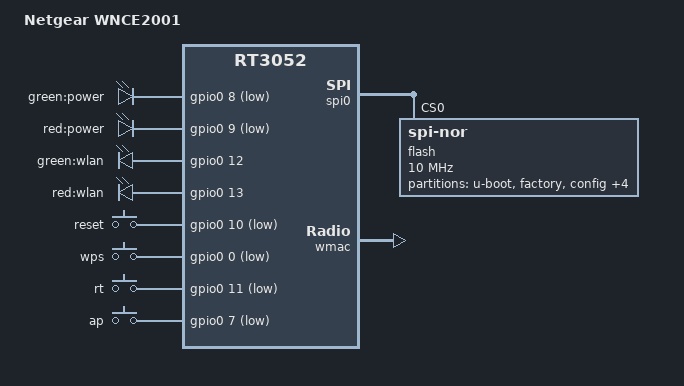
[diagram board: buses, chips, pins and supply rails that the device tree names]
#include "rt3050.dtsi"

#include <dt-bindings/gpio/gpio.h>
#include <dt-bindings/input/input.h>

/ {
	compatible = "netgear,wnce2001", "ralink,rt3052-soc";
	model = "Netgear WNCE2001";

	aliases {
		led-boot = &led_power_green;
		led-failsafe = &led_power_green;
		led-running = &led_power_green;
		led-upgrade = &led_power_green;
	};

	chosen {
		bootargs = "console=ttyS0,115200";
	};

	leds {
		compatible = "gpio-leds";

		led_power_green: power-green {
			label = "green:power";
			gpios = <&gpio0 8 GPIO_ACTIVE_LOW>;
		};

		power-red {
			label = "red:power";
			gpios = <&gpio0 9 GPIO_ACTIVE_LOW>;
		};

		wlan-green {
			label = "green:wlan";
			gpios = <&gpio0 12 GPIO_ACTIVE_HIGH>;
		};

		wlan-red {
			label = "red:wlan";
			gpios = <&gpio0 13 GPIO_ACTIVE_HIGH>;
		};
	};

	keys {
		compatible = "gpio-keys-polled";
		poll-interval = <20>;

		reset {
			label = "reset";
			gpios = <&gpio0 10 GPIO_ACTIVE_LOW>;
			linux,code = <KEY_RESTART>;
		};

		wps {
			label = "wps";
			gpios = <&gpio0 0 GPIO_ACTIVE_LOW>;
			linux,code = <KEY_WPS_BUTTON>;
		};

		rt {
			label = "rt";
			gpios = <&gpio0 11 GPIO_ACTIVE_LOW>;
			linux,code = <BTN_0>;
		};

		ap {
			label = "ap";
			gpios = <&gpio0 7 GPIO_ACTIVE_LOW>;
			linux,code = <BTN_1>;
		};
	};
};

&spi0 {
	status = "okay";

	flash@0 {
		compatible = "jedec,spi-nor";
		reg = <0>;
		spi-max-frequency = <10000000>;

		partitions {
			compatible = "fixed-partitions";
			#address-cells = <1>;
			#size-cells = <1>;

			partition@0 {
				label = "u-boot";
				reg = <0x0 0x30000>;
				read-only;
			};

			factory: partition@30000 {
				label = "factory";
				reg = <0x30000 0x10000>;
				read-only;
			};

			partition@40000 {
				label = "config";
				reg = <0x40000 0x20000>;
				read-only;
			};

			partition@60000 {
				label = "language";
				reg = <0x60000 0x30000>;
				read-only;
			};

			partition@90000 {
				label = "pot";
				reg = <0x90000 0x10000>;
				read-only;
			};

			partition@a0000 {
				label = "checksum";
				reg = <0xa0000 0x10000>;
			};

			partition@b0000 {
				compatible = "denx,uimage";
				label = "firmware";
				reg = <0xb0000 0x350000>;
			};
		};
	};
};

&state_default {
	gpio {
		groups = "i2c", "jtag", "rgmii", "mdio", "uartf";
		function = "gpio";
	};
};

&ethernet {
	nvmem-cells = <&macaddr_factory_28>;
	nvmem-cell-names = "mac-address";
};

&wmac {
	ralink,mtd-eeprom = <&factory 0x0>;
};

&factory {
	compatible = "nvmem-cells";
	#address-cells = <1>;
	#size-cells = <1>;

	macaddr_factory_28: macaddr@28 {
		reg = <0x28 0x6>;
	};
};
